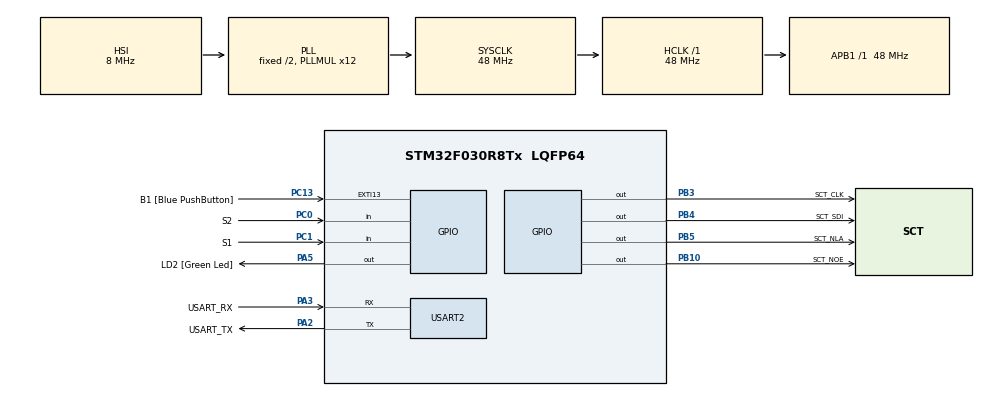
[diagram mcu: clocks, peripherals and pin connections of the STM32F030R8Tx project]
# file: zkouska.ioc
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Mcu.Family=STM32F0
Mcu.Name=STM32F030R8Tx
Mcu.Package=LQFP64
PA13.GPIO_Label=TMS
PA13.Mode=Serial_Wire
PA13.Signal=SYS_SWDIO
PA14.GPIO_Label=TCK
PA14.Mode=Serial_Wire
PA14.Signal=SYS_SWCLK
PA2.GPIO_Label=USART_TX
PA2.GPIO_Mode=GPIO_MODE_AF_PP
PA2.GPIO_PuPd=GPIO_NOPULL
PA2.GPIO_Speed=GPIO_SPEED_FREQ_LOW
PA2.Mode=Asynchronous
PA2.Signal=USART2_TX
PA3.GPIO_Label=USART_RX
PA3.GPIO_Mode=GPIO_MODE_AF_PP
PA3.GPIO_PuPd=GPIO_NOPULL
PA3.GPIO_Speed=GPIO_SPEED_FREQ_LOW
PA3.Mode=Asynchronous
PA3.Signal=USART2_RX
PA5.GPIO_Label=LD2 [Green Led]
PA5.GPIO_Mode=GPIO_MODE_OUTPUT_PP
PA5.GPIO_PuPd=GPIO_NOPULL
PA5.GPIO_Speed=GPIO_SPEED_FREQ_LOW
PA5.Signal=GPIO_Output
PB10.GPIO_Label=SCT_NOE
PB10.Signal=GPIO_Output
PB3.GPIO_Label=SCT_CLK
PB3.Signal=GPIO_Output
PB4.GPIO_Label=SCT_SDI
PB4.Signal=GPIO_Output
PB5.GPIO_Label=SCT_NLA
PB5.Signal=GPIO_Output
PC0.GPIO_Label=S2
PC0.GPIO_PuPd=GPIO_PULLUP
PC0.Signal=GPIO_Input
PC1.GPIO_Label=S1
PC1.GPIO_PuPd=GPIO_PULLUP
PC1.Signal=GPIO_Input
PC13.GPIO_Label=B1 [Blue PushButton]
PC13.GPIO_ModeDefaultEXTI=GPIO_MODE_IT_FALLING
PC13.Signal=GPXTI13
PC14-OSC32_IN.Mode=LSE-External-Oscillator
PC14-OSC32_IN.Signal=RCC_OSC32_IN
PC15-OSC32_OUT.Mode=LSE-External-Oscillator
PC15-OSC32_OUT.Signal=RCC_OSC32_OUT
PF0-OSC_IN.Mode=HSE-External-Clock-Source
PF0-OSC_IN.Signal=RCC_OSC_IN
PF1-OSC_OUT.Signal=RCC_OSC_OUT
ProjectManager.HeapSize=0x200
ProjectManager.StackSize=0x400
ProjectManager.TargetToolchain=STM32CubeIDE
RCC.AHBFreq_Value=48000000
RCC.APB1Freq_Value=48000000
RCC.APB1TimFreq_Value=48000000
RCC.HCLKFreq_Value=48000000
RCC.PLLMUL=RCC_PLL_MUL12
RCC.SYSCLKFreq_VALUE=48000000
RCC.SYSCLKSource=RCC_SYSCLKSOURCE_PLLCLK
USART2.VirtualMode-Asynchronous=VM_ASYNC
board=NUCLEO-F030R8

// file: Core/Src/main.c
/* USER CODE BEGIN Header */
/**
  ******************************************************************************
  * @file           : main.c
  * @brief          : Main program body
  ******************************************************************************
  * @attention
  *
  * Copyright (c) 2025 STMicroelectronics.
  * All rights reserved.
  *
  * This software is licensed under terms that can be found in the LICENSE file
  * in the root directory of this software component.
  * If no LICENSE file comes with this software, it is provided AS-IS.
  *
  ******************************************************************************
  */
/* USER CODE END Header */
#include "main.h"

/* USER CODE BEGIN Includes */
#include "sct.h"
/* USER CODE END Includes */

/* USER CODE BEGIN PD */
#define DICE_SPEED 40 //zakladni rychlost kostky pred zpomalenim (vetsi hodnota -> pomalejsi)
#define SLOW_VALUE 30 //vetsi hodnota, vice zpomaluje
#define NUM_OF_ROUNDS 15 //pocet kol kostky
#define ROUND_TO_SLOW 10 //kolo ve kterem zacne zpomalovat
/* USER CODE END PD */

UART_HandleTypeDef huart2;

void SystemClock_Config(void);
static void MX_GPIO_Init(void);
static void MX_USART2_UART_Init(void);

int main(void)
{

  /* MCU Configuration--------------------------------------------------------*/

  /* Reset of all peripherals, Initializes the Flash interface and the Systick. */
  HAL_Init();

  /* Configure the system clock */
  SystemClock_Config();

  /* Initialize all configured peripherals */
  MX_GPIO_Init();
  MX_USART2_UART_Init();
  /* USER CODE BEGIN 2 */
  sct_init();
  HAL_Delay(1000);
  //sct_segmDice(6);

  /* USER CODE END 2 */

  /* Infinite loop */
  /* USER CODE BEGIN WHILE */
  while (1)
  {
	  static uint16_t delay=DICE_SPEED;
	  static uint8_t diceRolling=0; //probiha losovani, ano/ne
	  static uint16_t counter=0; //kolikate protoceni kostky
	  static uint32_t lastTick=0;
	  static uint8_t currentNum = 1; //cislo prave ukazovane kostkou
	  uint8_t rand;

	  //Obsluha S1 se zakladnim deboucningem
	  static uint8_t old_s1;
	  uint8_t new_s1 = HAL_GPIO_ReadPin(S1_GPIO_Port, S1_Pin);
	  if (old_s1 && !new_s1 && diceRolling==0)
	  {
		  diceRolling=1;
		  rand=(HAL_GetTick()%6)+1; //Tvorba nahodneho cisla na kterem se kostka zastavi
	  }
	  old_s1 = new_s1;

	  //Obsluha S2 se zakladnim debouncingem
	  static uint8_t old_s2;
	  uint8_t new_s2 = HAL_GPIO_ReadPin(S2_GPIO_Port, S2_Pin);
	  if (old_s2 && !new_s2 && diceRolling==0)
	  {
		  sct_turnOffSegm(); //vynuluje displej (efekt probliknuti)
		  HAL_Delay(200);//vymenit za neblokujici, pouze pro lepsi uzivatelskou odezvu
		  sct_segmDice((HAL_GetTick()%6)+1); //volba nahodneho cisla
	  }
	  old_s2 = new_s2;

	  //Beh diceRolling
	  if (HAL_GetTick() - lastTick >= delay && diceRolling == 1)
	  {
		  sct_segmDice(currentNum); //Zobrazeni
		  if(counter==NUM_OF_ROUNDS && currentNum==rand)//Posledni beh se zastavi na nahodnem cisle
		  {
			  currentNum=6;//Ukonceni smycky
		  }
		  currentNum++;
		  lastTick = HAL_GetTick();
		  if (currentNum == 7)
		  {
			  currentNum = 1;
			  counter++;
			  if (counter > ROUND_TO_SLOW)
			  {
				  delay = delay + SLOW_VALUE;
				  if (counter == NUM_OF_ROUNDS+1)
				  {
					  diceRolling = 0;
					  counter = 0;
					  delay=DICE_SPEED;
				  }
			  }
		  }
	  }
    /* USER CODE END WHILE */

  }
}

void SystemClock_Config(void)
{
  RCC_OscInitTypeDef RCC_OscInitStruct = {0};
  RCC_ClkInitTypeDef RCC_ClkInitStruct = {0};

  /** Initializes the RCC Oscillators according to the specified parameters
  * in the RCC_OscInitTypeDef structure.
  */
  RCC_OscInitStruct.OscillatorType = RCC_OSCILLATORTYPE_HSI;
  RCC_OscInitStruct.HSIState = RCC_HSI_ON;
  RCC_OscInitStruct.HSICalibrationValue = RCC_HSICALIBRATION_DEFAULT;
  RCC_OscInitStruct.PLL.PLLState = RCC_PLL_ON;
  RCC_OscInitStruct.PLL.PLLSource = RCC_PLLSOURCE_HSI;
  RCC_OscInitStruct.PLL.PLLMUL = RCC_PLL_MUL12;
  RCC_OscInitStruct.PLL.PREDIV = RCC_PREDIV_DIV1;
  if (HAL_RCC_OscConfig(&RCC_OscInitStruct) != HAL_OK)
  {
    Error_Handler();
  }

  /** Initializes the CPU, AHB and APB buses clocks
  */
  RCC_ClkInitStruct.ClockType = RCC_CLOCKTYPE_HCLK|RCC_CLOCKTYPE_SYSCLK
                              |RCC_CLOCKTYPE_PCLK1;
  RCC_ClkInitStruct.SYSCLKSource = RCC_SYSCLKSOURCE_PLLCLK;
  RCC_ClkInitStruct.AHBCLKDivider = RCC_SYSCLK_DIV1;
  RCC_ClkInitStruct.APB1CLKDivider = RCC_HCLK_DIV1;

  if (HAL_RCC_ClockConfig(&RCC_ClkInitStruct, FLASH_LATENCY_1) != HAL_OK)
  {
    Error_Handler();
  }
}

static void MX_USART2_UART_Init(void)
{

  huart2.Instance = USART2;
  huart2.Init.BaudRate = 38400;
  huart2.Init.WordLength = UART_WORDLENGTH_8B;
  huart2.Init.StopBits = UART_STOPBITS_1;
  huart2.Init.Parity = UART_PARITY_NONE;
  huart2.Init.Mode = UART_MODE_TX_RX;
  huart2.Init.HwFlowCtl = UART_HWCONTROL_NONE;
  huart2.Init.OverSampling = UART_OVERSAMPLING_16;
  huart2.Init.OneBitSampling = UART_ONE_BIT_SAMPLE_DISABLE;
  huart2.AdvancedInit.AdvFeatureInit = UART_ADVFEATURE_NO_INIT;
  if (HAL_UART_Init(&huart2) != HAL_OK)
  {
    Error_Handler();
  }

}

static void MX_GPIO_Init(void)
{
  GPIO_InitTypeDef GPIO_InitStruct = {0};

  /* GPIO Ports Clock Enable */
  __HAL_RCC_GPIOC_CLK_ENABLE();
  __HAL_RCC_GPIOF_CLK_ENABLE();
  __HAL_RCC_GPIOA_CLK_ENABLE();
  __HAL_RCC_GPIOB_CLK_ENABLE();

  /*Configure GPIO pin Output Level */
  HAL_GPIO_WritePin(LD2_GPIO_Port, LD2_Pin, GPIO_PIN_RESET);

  /*Configure GPIO pin Output Level */
  HAL_GPIO_WritePin(GPIOB, SCT_NOE_Pin|SCT_CLK_Pin|SCT_SDI_Pin|SCT_NLA_Pin, GPIO_PIN_RESET);

  /*Configure GPIO pin : B1_Pin */
  GPIO_InitStruct.Pin = B1_Pin;
  GPIO_InitStruct.Mode = GPIO_MODE_IT_FALLING;
  GPIO_InitStruct.Pull = GPIO_NOPULL;
  HAL_GPIO_Init(B1_GPIO_Port, &GPIO_InitStruct);

  /*Configure GPIO pins : S2_Pin S1_Pin */
  GPIO_InitStruct.Pin = S2_Pin|S1_Pin;
  GPIO_InitStruct.Mode = GPIO_MODE_INPUT;
  GPIO_InitStruct.Pull = GPIO_PULLUP;
  HAL_GPIO_Init(GPIOC, &GPIO_InitStruct);

  /*Configure GPIO pin : LD2_Pin */
  GPIO_InitStruct.Pin = LD2_Pin;
  GPIO_InitStruct.Mode = GPIO_MODE_OUTPUT_PP;
  GPIO_InitStruct.Pull = GPIO_NOPULL;
  GPIO_InitStruct.Speed = GPIO_SPEED_FREQ_LOW;
  HAL_GPIO_Init(LD2_GPIO_Port, &GPIO_InitStruct);

  /*Configure GPIO pins : SCT_NOE_Pin SCT_CLK_Pin SCT_SDI_Pin SCT_NLA_Pin */
  GPIO_InitStruct.Pin = SCT_NOE_Pin|SCT_CLK_Pin|SCT_SDI_Pin|SCT_NLA_Pin;
  GPIO_InitStruct.Mode = GPIO_MODE_OUTPUT_PP;
  GPIO_InitStruct.Pull = GPIO_NOPULL;
  GPIO_InitStruct.Speed = GPIO_SPEED_FREQ_LOW;
  HAL_GPIO_Init(GPIOB, &GPIO_InitStruct);

}

void Error_Handler(void)
{
  __disable_irq();
  while (1)
  {
  }
}
